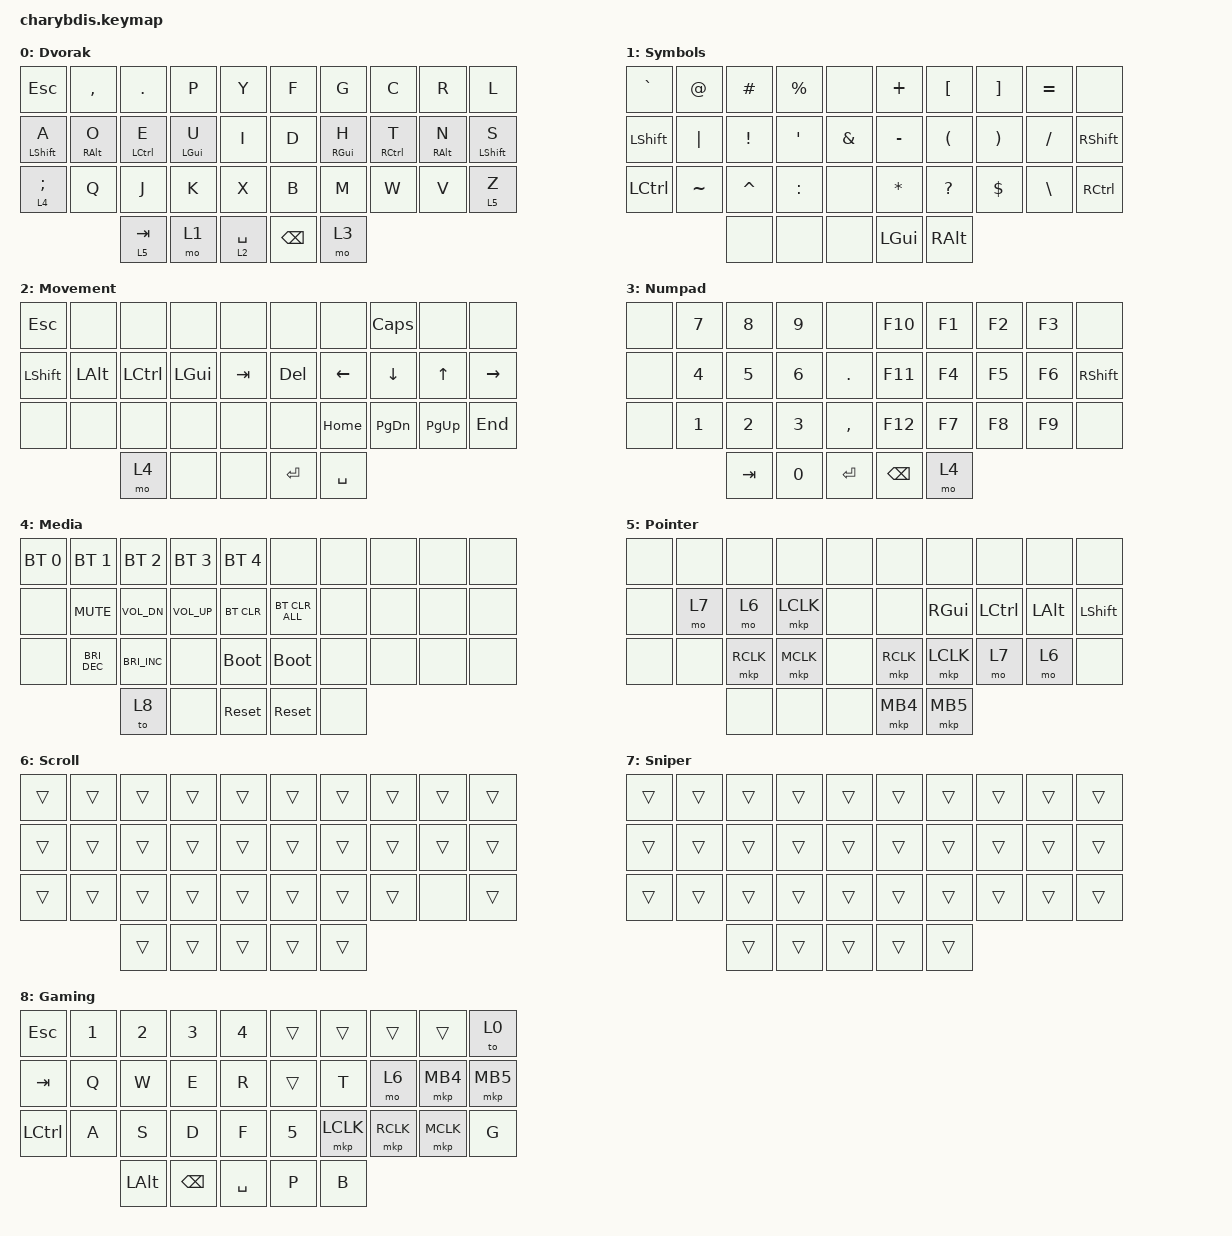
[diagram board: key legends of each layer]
#include <dt-bindings/zmk/mouse.h>
#include <behaviors/mouse_keys.dtsi>
#include <behaviors.dtsi>
#include <dt-bindings/zmk/bt.h>
#include <dt-bindings/zmk/keys.h>
#include <dt-bindings/zmk/pointing.h>

#define MAIN 0
#define SYM 1
#define MOV 2
#define NUM 3
#define MED 4
#define POI 5
#define SCR 6
#define SNI 7

&sl { release-after-ms = <250>; };

&mt {
    flavor = "tap-preferred";
    tapping-term-ms = <200>;
    require-prior-idle-ms = <150>;
    retro-tap;
};

/ {
    chosen { zmk,matrix_transform = &five_column_transform; };

    behaviors {
        hml: homewrow_mods_left {
            compatible = "zmk,behavior-hold-tap";
            label = "HOMEROW_MODS_LEFT_HAND";
            bindings = <&kp>, <&kp>;

            #binding-cells = <2>;
            tapping-term-ms = <280>;
            hold-trigger-key-positions = <5 6 7 8 9 15 16 17 18 19 25 26 27 28 29 33 34>;
            flavor = "balanced";
            quick-tap-ms = <175>;
            require-prior-idle-ms = <125>;
            hold-trigger-on-release;
        };

        hmr: homewrow_mods_right {
            compatible = "zmk,behavior-hold-tap";
            label = "HOMEROW_MODS_RIGHT_HAND";
            bindings = <&kp>, <&kp>;

            #binding-cells = <2>;
            tapping-term-ms = <280>;
            hold-trigger-key-positions = <0 1 2 3 4 10 11 12 13 14 20 21 22 23 24 30 31 32>;
            flavor = "balanced";
            quick-tap-ms = <175>;
            require-prior-idle-ms = <125>;
            hold-trigger-on-release;
        };
    };

    combos {
        compatible = "zmk,combos";

        minus {
            bindings = <&kp MINUS>;
            key-positions = <16 17>;
        };

        equal {
            bindings = <&kp EQUAL>;
            key-positions = <17 18>;
        };

        Win {
            bindings = <&kp LEFT_WIN>;
            key-positions = <22 23>;
        };
    };

    keymap {
        compatible = "zmk,keymap";

        Main {
            label = "Dvorak";
            bindings = <
  &kp ESC           &kp COMMA        &kp DOT             &kp P           &kp Y          &kp F          &kp G            &kp C                &kp R            &kp L
  &mt LEFT_SHIFT A  &mt RIGHT_ALT O  &mt LEFT_CONTROL E  &mt LEFT_GUI U  &kp I          &kp D          &mt RIGHT_GUI H  &mt RIGHT_CONTROL T  &mt RIGHT_ALT N  &mt LEFT_SHIFT S
  &lt 4 SEMI        &kp Q            &kp J               &kp K           &kp X          &kp B          &kp M            &kp W                &kp V            &lt 5 Z
                                     &lt 5 TAB           &mo 1           &lt 2 SPACE    &kp BACKSPACE  &mo 3
            >;
        };

        Symbols {
            label = "Symbols";
            bindings = <
  &kp GRAVE         &kp AT     &kp HASH   &kp PRCNT  &none       &kp PLUS      &kp LEFT_BRACKET  &kp RIGHT_BRACKET  &kp EQUAL  &none
  &kp LEFT_SHIFT    &kp PIPE   &kp EXCL   &kp APOS   &kp AMPS    &kp MINUS     &kp LPAR          &kp RPAR           &kp SLASH  &kp RIGHT_SHIFT
  &kp LEFT_CONTROL  &kp TILDE  &kp CARET  &kp COLON  &none       &kp STAR      &kp QUESTION      &kp DLLR           &kp BSLH   &kp RIGHT_CONTROL
                               &none      &none      &none       &kp LEFT_GUI  &kp RIGHT_ALT
            >;
        };

        Movement {
            label = "Movement";
            bindings = <
  &kp ESC    &none         &none             &none     &none      &none       &none      &kp CAPS       &none        &none
  &kp LSHFT  &kp LEFT_ALT  &kp LEFT_CONTROL  &kp LGUI  &kp TAB    &kp DELETE  &kp LEFT   &kp DOWN       &kp UP       &kp RIGHT
  &none      &none         &none             &none     &none      &none       &kp HOME   &kp PAGE_DOWN  &kp PAGE_UP  &kp END
                           &mo 4             &none     &none      &kp ENTER   &kp SPACE
            >;
        };

        Numpad {
            label = "Numpad";
            bindings = <
  &none  &kp N7        &kp N8        &kp N9        &none        &kp F10        &kp F1  &kp F2  &kp F3  &none
  &none  &kp NUMBER_4  &kp N5        &kp NUMBER_6  &kp DOT      &kp F11        &kp F4  &kp F5  &kp F6  &kp RIGHT_SHIFT
  &none  &kp N1        &kp NUMBER_2  &kp NUMBER_3  &kp COMMA    &kp F12        &kp F7  &kp F8  &kp F9  &none
                       &kp TAB       &kp N0        &kp ENTER    &kp BACKSPACE  &mo 4
            >;
        };

        Media {
            label = "Media";
            bindings = <
  &bt BT_SEL 0  &bt BT_SEL 1   &bt BT_SEL 2   &bt BT_SEL 3     &bt BT_SEL 4    &none           &none  &none  &none  &none
  &none         &kp K_MUTE     &kp C_VOL_DN   &kp C_VOLUME_UP  &bt BT_CLR      &bt BT_CLR_ALL  &none  &none  &none  &none
  &none         &kp C_BRI_DEC  &kp C_BRI_INC  &none            &bootloader     &bootloader     &none  &none  &none  &none
                               &to 8          &none            &sys_reset      &sys_reset      &none
            >;
        };

        Pointer {
            label = "Pointer";
            bindings = <
  &none  &none  &none      &none      &none    &none      &none          &none      &none     &none
  &none  &mo 7  &mo 6      &mkp LCLK  &none    &none      &kp RIGHT_GUI  &kp LCTRL  &kp LALT  &kp LSHFT
  &none  &none  &mkp RCLK  &mkp MCLK  &none    &mkp RCLK  &mkp LCLK      &mo 7      &mo 6     &none
                &none      &none      &none    &mkp MB4   &mkp MB5
            >;
        };

        Scroll {
            label = "Scroll";
            bindings = <
  &trans  &trans  &trans  &trans  &trans    &trans  &trans  &trans  &trans  &trans
  &trans  &trans  &trans  &trans  &trans    &trans  &trans  &trans  &trans  &trans
  &trans  &trans  &trans  &trans  &trans    &trans  &trans  &trans  &none   &trans
                  &trans  &trans  &trans    &trans  &trans
            >;
        };

        Sniper {
            label = "Sniper";
            bindings = <
  &trans  &trans  &trans  &trans  &trans    &trans  &trans  &trans  &trans  &trans
  &trans  &trans  &trans  &trans  &trans    &trans  &trans  &trans  &trans  &trans
  &trans  &trans  &trans  &trans  &trans    &trans  &trans  &trans  &trans  &trans
                  &trans  &trans  &trans    &trans  &trans
            >;
        };

        Gaming {
            bindings = <
  &kp ESC           &kp N1  &kp N2        &kp N3         &kp N4       &trans  &trans     &trans     &trans     &to 0
  &kp TAB           &kp Q   &kp W         &kp E          &kp R        &trans  &kp T      &mo 6      &mkp MB4   &mkp MB5
  &kp LEFT_CONTROL  &kp A   &kp S         &kp D          &kp F        &kp N5  &mkp LCLK  &mkp RCLK  &mkp MCLK  &kp G
                            &kp LEFT_ALT  &kp BACKSPACE  &kp SPACE    &kp P   &kp B
            >;

            label = "Gaming";
        };
    };
};
